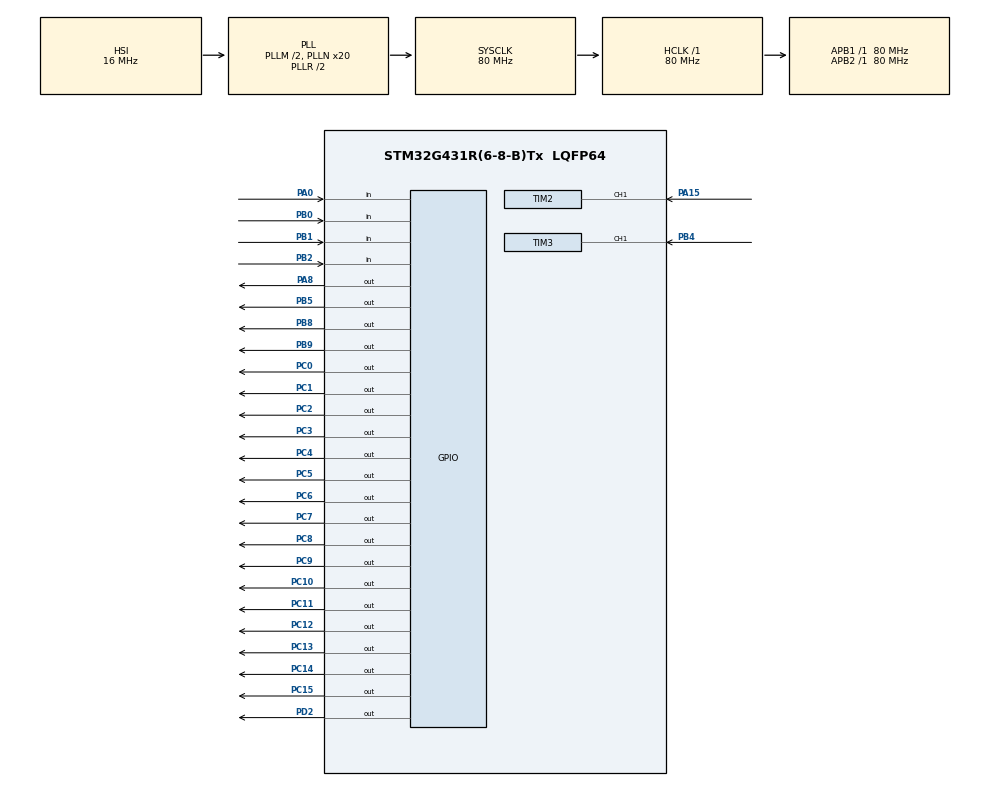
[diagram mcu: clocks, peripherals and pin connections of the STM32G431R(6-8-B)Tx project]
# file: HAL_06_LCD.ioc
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Mcu.Family=STM32G4
Mcu.Name=STM32G431R(6-8-B)Tx
Mcu.Package=LQFP64
NVIC.PriorityGroup=NVIC_PRIORITYGROUP_4
NVIC.TIM1_UP_TIM16_IRQn=true\:0\:0\:false\:false\:true\:true\:true
NVIC.TIM2_IRQn=true\:0\:0\:false\:false\:true\:true\:true
NVIC.TIM3_IRQn=true\:0\:0\:false\:false\:true\:true\:true
PA0.Signal=GPIO_Input
PA15.Signal=S_TIM2_CH1
PA6.Signal=S_TIM16_CH1
PA7.Signal=S_TIM17_CH1
PA8.Signal=GPIO_Output
PB0.Signal=GPIO_Input
PB1.Signal=GPIO_Input
PB2.Signal=GPIO_Input
PB4.Signal=S_TIM3_CH1
PB5.Signal=GPIO_Output
PB8-BOOT0.Signal=GPIO_Output
PB9.Signal=GPIO_Output
PC0.Signal=GPIO_Output
PC1.Signal=GPIO_Output
PC10.Signal=GPIO_Output
PC11.Signal=GPIO_Output
PC12.Signal=GPIO_Output
PC13.Signal=GPIO_Output
PC14-OSC32_IN.Signal=GPIO_Output
PC15-OSC32_OUT.Signal=GPIO_Output
PC2.Signal=GPIO_Output
PC3.Signal=GPIO_Output
PC4.Signal=GPIO_Output
PC5.Signal=GPIO_Output
PC6.Signal=GPIO_Output
PC7.Signal=GPIO_Output
PC8.Signal=GPIO_Output
PC9.Signal=GPIO_Output
PD2.Signal=GPIO_Output
PF0-OSC_IN.Mode=HSE-External-Oscillator
PF0-OSC_IN.Signal=RCC_OSC_IN
PF1-OSC_OUT.Mode=HSE-External-Oscillator
PF1-OSC_OUT.Signal=RCC_OSC_OUT
ProjectManager.HeapSize=0x200
ProjectManager.StackSize=0x400
ProjectManager.TargetToolchain=MDK-ARM V5
RCC.ADC12Freq_Value=80000000
RCC.AHBFreq_Value=80000000
RCC.APB1Freq_Value=80000000
RCC.APB1TimFreq_Value=80000000
RCC.APB2Freq_Value=80000000
RCC.APB2TimFreq_Value=80000000
RCC.CortexFreq_Value=80000000
RCC.EXTERNAL_CLOCK_VALUE=12288000
RCC.HCLKFreq_Value=80000000
RCC.HSE_VALUE=24000000
RCC.HSI48_VALUE=48000000
RCC.HSI_VALUE=16000000
RCC.LSE_VALUE=32768
RCC.PLLM=RCC_PLLM_DIV2
RCC.PLLN=20
RCC.SYSCLKFreq_VALUE=80000000
RCC.SYSCLKSource=RCC_SYSCLKSOURCE_PLLCLK
RCC.USBFreq_Value=80000000
RCC.VCOOutputFreq_Value=160000000
SH.S_TIM16_CH1.0=TIM16_CH1
SH.S_TIM17_CH1.0=TIM17_CH1
SH.S_TIM2_CH1.0=TIM2_CH1,Input_Capture1_from_TI1
SH.S_TIM3_CH1.0=TIM3_CH1,Input_Capture1_from_TI1
TIM1.AutoReloadPreload=TIM_AUTORELOAD_PRELOAD_ENABLE
TIM1.PeriodNoDither=9999
TIM1.Prescaler=799
TIM2.Channel-Input_Capture1_from_TI1=TIM_CHANNEL_1
TIM2.PeriodNoDither=0xFFFF
TIM2.Prescaler=79
TIM3.Channel-Input_Capture1_from_TI1=TIM_CHANNEL_1
TIM3.PeriodNoDither=0xFFFF
TIM3.Prescaler=79
VP_SYS_VS_DBSignals.Mode=DisableDeadBatterySignals
VP_TIM1_VS_ClockSourceINT.Mode=Internal
board=custom

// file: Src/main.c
/* USER CODE BEGIN Header */
/**
  ******************************************************************************
  * @file           : main.c
  * @brief          : Main program body
  ******************************************************************************
  * @attention
  *
  * <h2><center>&copy; Copyright (c) 2021 STMicroelectronics.
  * All rights reserved.</center></h2>
  *
  * This software component is licensed by ST under BSD 3-Clause license,
  * the "License"; You may not use this file except in compliance with the
  * License. You may obtain a copy of the License at:
  *                        opensource.org/licenses/BSD-3-Clause
  *
  ******************************************************************************
  */
/* USER CODE END Header */
#include "main.h"
#include "tim.h"
#include "gpio.h"

/* USER CODE BEGIN Includes */
#include "lcd.h"
#include "key.h"
#include "led.h"
#include "string.h"
#include "stdio.h"

#define PH_MAX 10000
#define PH_MIN 100

#define PD_MAX 1000
#define PD_MIN 100

#define PX_MAX 1000
#define PX_MIN -1000
/* USER CODE END Includes */

void SystemClock_Config(void);

/* USER CODE BEGIN 0 */

void DATA_ZHOUQI(void) ;
void DATA_PINLV(void) ;
void PARA(void) ;
void RECD(void) ;
void Clear(void)  ;
void Get_F(void) ;

u32 tim2_cnt1 = 0, tim2_cnt2 = 0;
u32 f40 = 0;
float d40 = 0;

u32 tim3_cnt1 = 0, tim3_cnt2 = 0;
u32 f39 = 0;
float d39 = 0;
u8 tim2_state = 0;
u8 tim3_state = 0;
u32 time,time1 ;
void HAL_TIM_IC_CaptureCallback(TIM_HandleTypeDef *htim)
{
	if(htim == &htim2)
	{
		if(tim2_state == 0)
		{
			__HAL_TIM_SetCounter(&htim2,0);
			TIM2->CCER |= 0x02;
			tim2_state = 1;
		}
		else if(tim2_state == 1)
		{
			tim2_cnt1 = __HAL_TIM_GetCounter(&htim2);
			TIM2->CCER &= ~0x02;
			tim2_state = 2;
		}
		else if(tim2_state == 2)
		{
			tim2_cnt2 = __HAL_TIM_GetCounter(&htim2);
			f40 = 1000000/tim2_cnt2;

			tim2_state = 0;
		}
		HAL_TIM_IC_Start_IT(&htim2,TIM_CHANNEL_1);
	}

	if(htim == &htim3)
	{
		if(tim3_state == 0)
		{
			__HAL_TIM_SetCounter(&htim3,0);
			TIM3->CCER |= 0x02;
			tim3_state = 1;
		}
		else if(tim3_state == 1)
		{
			tim3_cnt1 = __HAL_TIM_GetCounter(&htim3);
			TIM3->CCER &= ~0x02;
			tim3_state = 2;
		}
		else if(tim3_state == 2)
		{
			tim3_cnt2 = __HAL_TIM_GetCounter(&htim3);
			f39 = 1000000/tim3_cnt2;

			tim3_state = 0;
		}
		HAL_TIM_IC_Start_IT(&htim3,TIM_CHANNEL_1);
	}
}

s32 PX = 0;
u32 PD = 1000 ;
u32 PH = 5000 ;
s32 A = 0 ,B  = 0;
s32 A_z = 0,B_Z = 0 ;
u8 NDA = 0,NDB = 0 ,NHA = 0,NHB = 0 ;
u8 flag_A = 0 ,flag_B = 0;

s32 Old_A = 0,Old_B = 0 ;
s32 A_MAX = 0,A_MIN = 0, B_MAX = 0,B_MIN = 0;
__IO uint32_t Juge1Tick = 0 ;
u8 FLAG = 0;
void Juge_PINLV(void)
{
	if(uwTick - Juge1Tick <100) return ;
	Juge1Tick = uwTick ;

	A = f40 + PX ;
	B = f39 + PX ;
	if(FLAG == 0)
	{
		A_MAX = A_MIN = A ;
		B_MAX = B_MIN = B ;
		FLAG = 1 ;
	}

	Get_F() ;

	Old_A = A ;
	Old_B = B ;
	A_z = 1000000/f40 ;
	B_Z = 1000000/f39 ;

	if(A > PH & flag_A == 0)
	{
		NHA +=1 ;
		flag_A = 1 ;

	}
	else if(A <= PH)  flag_A = 0 ;
	if(B > PH & flag_B == 0)
	{
		NHB +=1 ;
		flag_B = 1 ;
	}
	else if(B <=PH)  flag_B = 0 ;
}

void Get_F(void)
{
	if(A > A_MAX)
	{
		A_MAX = A ;
	}
	else if(A < A_MIN)
	{
		A_MIN = A ;
	}

	if(B > B_MAX)
	{
		B_MAX = B ;
	}
	else if(B <B_MIN)
	{
		B_MIN = B ;
	}
}
__IO uint32_t JugeTick = 0;
u8 Flag_A = 0,Flag_B = 0;
void Juge_F(void)
{

	Flag_A = 0 ;
	Flag_B = 0 ;
	if(uwTick - JugeTick <3000) return ;
	JugeTick = uwTick ;

	if((A_MAX - A_MIN) > PD & Flag_A == 0)
	{
		NDA += 1 ;
		Flag_A = 1 ;
	}

	if((B_MAX - B_MIN) > PD & Flag_B == 0)
	{
		NDB += 1 ;
		Flag_B = 1 ;
	}
		FLAG = 0 ;
}
__IO uint32_t ContTick = 0;
__IO uint32_t keyTick = 0;
u8 Key_Mode = 0;
u8 Key_Select = 0;
u8 Key_P = 0;
void Key_Process(void)
{
	if(uwTick - keyTick < 10) return ;
	keyTick = uwTick;

	Key_Read();

	if(Trg & 0x01)	//B1
	{
		if(Key_Mode == 1)
		{
			if(Key_P == 0)
			{
				if(PD <= 900)
				PD +=100 ;
			}
			else if(Key_P == 1)
			{
				if(PH <= 9900)
				PH +=100 ;
			}
			else if(Key_P == 2)
			{
				if(PX <= 900)
				PX+= 100 ;
			}
		}
	}
	if(Trg & 0x02)	//B2
	{
		if(Key_Mode == 1)
		{
			if(Key_P == 0)
			{
				if(PD >= 200)
				PD -=100 ;
			}
			else if(Key_P == 1)
			{
				if(PH >= 1100)
				PH -=100 ;
			}
			else if(Key_P == 2)
			{
				if(PX >= -900)
				PX-= 100 ;
			}
		}
	}
	if(Trg & 0x04)	//B3
	{
		if(Key_Mode == 0)
			Key_Select = !Key_Select ;
		if(Key_Mode == 1)
		{
			Key_P +=1 ;
			if(Key_P == 3)
				Key_P = 0;
		}
		if(Key_Mode == 2)
			ContTick = uwTick ;
	}

	if(Cont & 0x04)
	{
		if(Key_Mode == 2)
		{
			if(uwTick - ContTick <= 1000) return ;
			{
				 NDA = 0 ;
			   NDB = 0 ;
         NHA = 0 ;
				 NHB = 0 ;
				ContTick = uwTick ;
			}
	  }
	}
	if(Trg & 0x08)	//B4
	{
		Key_Mode+=1 ;
		if(Key_Mode == 3)
			Key_Mode = 0;
	}

	if(Key_Mode == 0)
	{
//		LED_Control(0x01) ;
		if(Key_Select == 0)
			DATA_PINLV() ;
		if(Key_Select == 1)
			DATA_ZHOUQI() ;
	}
	else if(Key_Mode == 1)
	{
//		LED_Control(0x00) ;
		PARA() ;
	}
	else if(Key_Mode == 2)
	{
//		LED_Control(0x00) ;
		RECD() ;
	}

}

__IO uint32_t lcdTick = 0;
u8 display_buf[20] ;
void DATA_ZHOUQI(void)
{
	if(uwTick - lcdTick < 100) return ;
	lcdTick = uwTick;

  LCD_DisplayStringLine(Line1, (unsigned char *)"        DATA        ");

	if(A_z<=1000 & A>0)
	{
	sprintf((char*)display_buf,"     A=%duS    ",A_z);
	LCD_DisplayStringLine(Line3,display_buf);
	}
	else if(A_z>1000 & A>0)
	{
	sprintf((char*)display_buf,"     A=%0.2fmS    ",A_z/1000.0f);
	LCD_DisplayStringLine(Line3,display_buf);
	}
	else if(A < 0)
	{
  LCD_DisplayStringLine(Line3, (unsigned char *)"     A=NULL        ");
	}

	if(B_Z<=1000 & B>0)
	{
	sprintf((char*)display_buf,"     B=%duS    ",B_Z);
	LCD_DisplayStringLine(Line4,display_buf);
	}
	else if(B_Z>1000 & B>0)
	{
	sprintf((char*)display_buf,"     B=%0.2fmS    ",B_Z/1000.0f);
	LCD_DisplayStringLine(Line4,display_buf);
	}
	else if(B < 0)
	{
  LCD_DisplayStringLine(Line4, (unsigned char *)"     B=NULL        ");
	}
  LCD_DisplayStringLine(Line5, (unsigned char *)"                ");
  LCD_DisplayStringLine(Line6, (unsigned char *)"                ");
}

void DATA_PINLV(void)
{
	if(uwTick - lcdTick < 100) return ;
	lcdTick = uwTick;

  LCD_DisplayStringLine(Line1, (unsigned char *)"        DATA        ");

	if(A<=1000 & A>0)
	{
	sprintf((char*)display_buf,"     A=%dHz   ",A);
	LCD_DisplayStringLine(Line3,display_buf);
	}
	else if(A>1000)
	{
	sprintf((char*)display_buf,"     A=%0.2fKHz   ",A/1000.0f);
	LCD_DisplayStringLine(Line3,display_buf);
	}
	else if(A < 0)
	{
  LCD_DisplayStringLine(Line3, (unsigned char *)"     A=NULL        ");
	}

	if(B<=1000 & B>0)
	{
	sprintf((char*)display_buf,"     B=%dHz   ",B);
	LCD_DisplayStringLine(Line4,display_buf);
	}
	else if(B>1000)
	{
	sprintf((char*)display_buf,"     B=%0.2fKHz   ",B/1000.0f);
	LCD_DisplayStringLine(Line4,display_buf);
	}
	else if(B < 0)
	{
  LCD_DisplayStringLine(Line4, (unsigned char *)"     B=NULL        ");
	}

  LCD_DisplayStringLine(Line5, (unsigned char *)"                ");
  LCD_DisplayStringLine(Line6, (unsigned char *)"                ");
}

void PARA(void)
{
	if(uwTick - lcdTick < 100) return ;
	lcdTick = uwTick;

  LCD_DisplayStringLine(Line1, (unsigned char *)"        PARA        ");

	sprintf((char*)display_buf,"     PD=%dHz   ",PD);
	LCD_DisplayStringLine(Line3,display_buf);

	sprintf((char*)display_buf,"     PH=%dHz   ",PH);
	LCD_DisplayStringLine(Line4,display_buf);

	sprintf((char*)display_buf,"     PX=%dHz   ",PX);
	LCD_DisplayStringLine(Line5,display_buf);

  LCD_DisplayStringLine(Line6, (unsigned char *)"                ");

}

void RECD(void)
{
	if(uwTick - lcdTick < 100) return ;
	lcdTick = uwTick;

  LCD_DisplayStringLine(Line1, (unsigned char *)"        RECD        ");

	sprintf((char*)display_buf,"     NDA=%d     ",NDA);
	LCD_DisplayStringLine(Line3,display_buf);

	sprintf((char*)display_buf,"     NDB=%d     ",NDB);
	LCD_DisplayStringLine(Line4,display_buf);

	sprintf((char*)display_buf,"     NHA=%d     ",NHA);
	LCD_DisplayStringLine(Line5,display_buf);

	sprintf((char*)display_buf,"     NHB=%d     ",NHB);
	LCD_DisplayStringLine(Line6,display_buf);
}

void Clear(void)
{
  LCD_DisplayStringLine(Line3, (unsigned char *)"                ");
  LCD_DisplayStringLine(Line4, (unsigned char *)"                ");
  LCD_DisplayStringLine(Line5, (unsigned char *)"                ");
  LCD_DisplayStringLine(Line6, (unsigned char *)"                ");
}

void LED(void)
{
	if(Key_Mode == 0)
	{
		if(NDA >=3 | NDB>= 3)
		{
			if(A > PH & B > PH)
				LED_Control(0x87) ;
			else if(A > PH & B < PH)
				LED_Control(0x83) ;
			else if(A < PH & B > PH)
				LED_Control(0x85) ;
			else if(A < PH & B < PH)
				LED_Control(0x81) ;
	  }
		else if(NDA <3 & NDB < 3)
		{
			if(A > PH & B > PH)
				LED_Control(0x07) ;
			else if(A > PH & B < PH)
				LED_Control(0x03) ;
			else if(A < PH & B > PH)
				LED_Control(0x05) ;
			else if(A < PH & B < PH)
				LED_Control(0x01) ;
		}
  }
	else
	{
			if(NDA >=3 | NDB>= 3)
		{
			if(A > PH & B > PH)
				LED_Control(0x86) ;
			else if(A > PH & B < PH)
				LED_Control(0x82) ;
			else if(A < PH & B > PH)
				LED_Control(0x84) ;
			else if(A < PH & B < PH)
				LED_Control(0x80) ;
	  }
		else if(NDA <3 & NDB < 3)
		{
			if(A > PH & B > PH)
				LED_Control(0x06) ;
			else if(A > PH & B < PH)
				LED_Control(0x02) ;
			else if(A < PH & B > PH)
				LED_Control(0x04) ;
			else if(A < PH & B < PH)
				LED_Control(0x00) ;
		}
	}
}
	/* USER CODE END 0 */

int main(void)
{

  /* MCU Configuration--------------------------------------------------------*/

  /* Reset of all peripherals, Initializes the Flash interface and the Systick. */
  HAL_Init();

  /* Configure the system clock */
  SystemClock_Config();

  /* Initialize all configured peripherals */
  MX_GPIO_Init();
  MX_TIM2_Init();
  MX_TIM3_Init();
  MX_TIM1_Init();
  /* USER CODE BEGIN 2 */
    LCD_Init();
  HAL_TIM_IC_Start_IT(&htim2,TIM_CHANNEL_1);

  HAL_TIM_IC_Start_IT(&htim3,TIM_CHANNEL_1);

  /* USER CODE END 2 */

  /* Infinite loop */
  /* USER CODE BEGIN WHILE */
    LCD_SetBackColor(Black);
    LCD_SetTextColor(White);
	  LCD_Clear(Black);

	LED_Control(0x00) ;
	FLAG = 0 ;

    while (1)
    {
    /* USER CODE END WHILE */

    /* USER CODE BEGIN 3 */
			LED() ;

			Key_Process() ;
			Juge_PINLV() ;
			Juge_F() ;

    }
  /* USER CODE END 3 */
}

void SystemClock_Config(void)
{
  RCC_OscInitTypeDef RCC_OscInitStruct = {0};
  RCC_ClkInitTypeDef RCC_ClkInitStruct = {0};

  /** Configure the main internal regulator output voltage
  */
  HAL_PWREx_ControlVoltageScaling(PWR_REGULATOR_VOLTAGE_SCALE1);
  /** Initializes the RCC Oscillators according to the specified parameters
  * in the RCC_OscInitTypeDef structure.
  */
  RCC_OscInitStruct.OscillatorType = RCC_OSCILLATORTYPE_HSI;
  RCC_OscInitStruct.HSIState = RCC_HSI_ON;
  RCC_OscInitStruct.HSICalibrationValue = RCC_HSICALIBRATION_DEFAULT;
  RCC_OscInitStruct.PLL.PLLState = RCC_PLL_ON;
  RCC_OscInitStruct.PLL.PLLSource = RCC_PLLSOURCE_HSI;
  RCC_OscInitStruct.PLL.PLLM = RCC_PLLM_DIV2;
  RCC_OscInitStruct.PLL.PLLN = 20;
  RCC_OscInitStruct.PLL.PLLP = RCC_PLLP_DIV2;
  RCC_OscInitStruct.PLL.PLLQ = RCC_PLLQ_DIV2;
  RCC_OscInitStruct.PLL.PLLR = RCC_PLLR_DIV2;
  if (HAL_RCC_OscConfig(&RCC_OscInitStruct) != HAL_OK)
  {
    Error_Handler();
  }
  /** Initializes the CPU, AHB and APB buses clocks
  */
  RCC_ClkInitStruct.ClockType = RCC_CLOCKTYPE_HCLK|RCC_CLOCKTYPE_SYSCLK
                              |RCC_CLOCKTYPE_PCLK1|RCC_CLOCKTYPE_PCLK2;
  RCC_ClkInitStruct.SYSCLKSource = RCC_SYSCLKSOURCE_PLLCLK;
  RCC_ClkInitStruct.AHBCLKDivider = RCC_SYSCLK_DIV1;
  RCC_ClkInitStruct.APB1CLKDivider = RCC_HCLK_DIV1;
  RCC_ClkInitStruct.APB2CLKDivider = RCC_HCLK_DIV1;

  if (HAL_RCC_ClockConfig(&RCC_ClkInitStruct, FLASH_LATENCY_2) != HAL_OK)
  {
    Error_Handler();
  }
}

void Error_Handler(void)
{
}
